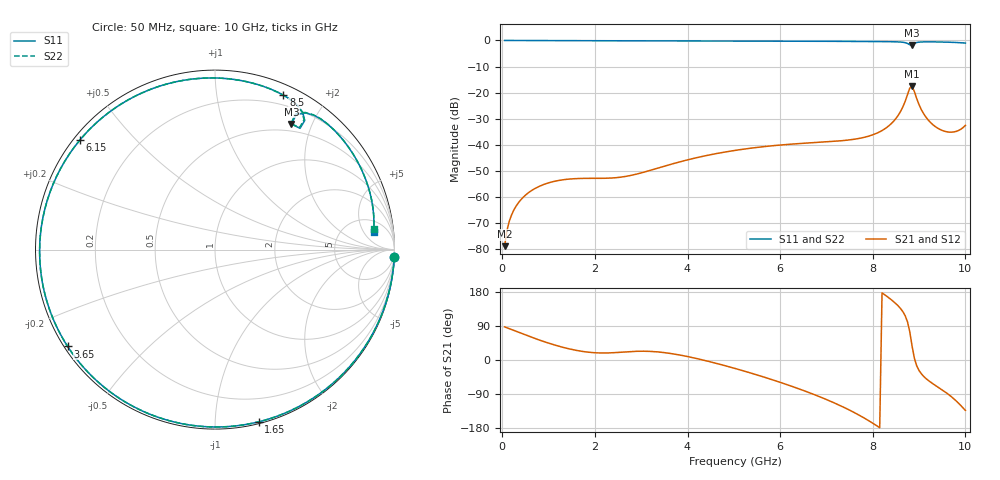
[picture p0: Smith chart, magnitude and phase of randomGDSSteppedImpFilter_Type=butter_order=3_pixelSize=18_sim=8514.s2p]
! freq	dB(S11)	phase(S11)	dB(S12)	phase(S12)
!  dB(S21)	phase(S21)	dB(S22)	phase(S22)
!S-par simulation data
#  GHz  S  DB  R 50
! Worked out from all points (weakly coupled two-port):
!   200 points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, 50 MHz to 10 GHz, reference 50 ohm
!   highest |S21| = -17.60 dB at 8.85 GHz (marker M1); lowest = -78.9 dB at 50 MHz (marker M2)
!   lowest |S11| = -1.7 dB at 8.85 GHz (marker M3), VSWR 10.04, Z = 20.1 + j85.4 ohm
!   |S11| at or under -10 dB: nowhere
!   |S22| runs from -1.7 to 0.0 dB; largest |S21 - S12| = 0
!   S11 on the Smith chart (normalised r, x): 50 MHz: 0, -47; 1.65 GHz: 0.01, -1.28; 3.65 GHz: 0.01, -0.30; 6.15 GHz: 0.02, +0.35; 8.5 GHz: 0.10, +1.53; 10 GHz: 9, +9
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0.05  -0.00 -2.5  -78.86 87.4  -78.86 87.4  -0.00 -2.5
0.1  -0.01 -4.9  -72.85 85.0  -72.85 85.0  -0.01 -4.9
0.2  -0.01 -9.8  -66.89 80.2  -66.89 80.2  -0.01 -9.8
0.5  -0.03 -24.2  -59.31 66.0  -59.31 66.0  -0.03 -24.2
1  -0.06 -47.6  -54.59 44.5  -54.59 44.5  -0.06 -47.5
1.65  -0.09 -75.8  -52.92 24.3  -52.92 24.3  -0.09 -75.8
1.75  -0.09 -79.9  -52.87 22.3  -52.87 22.3  -0.09 -79.9
2.5  -0.12 -108.6  -52.53 20.0  -52.53 20.0  -0.12 -108.5
3.4  -0.15 -138.9  -48.72 20.8  -48.72 20.8  -0.15 -138.8
3.65  -0.15 -146.7  -47.43 16.9  -47.43 16.9  -0.15 -146.6
5.05  -0.21 172.3  -42.08 -23.1  -42.08 -23.1  -0.21 172.4
6.15  -0.27 141.0  -39.87 -65.1  -39.87 -65.1  -0.27 141.1
6.7  -0.31 124.9  -39.20 -89.6  -39.20 -89.6  -0.31 125.0
7.8  -0.39 90.6  -37.21 -152.1  -37.21 -152.1  -0.39 90.9
8.35  -0.47 71.8  -32.68 163.8  -32.68 163.8  -0.47 72.0
8.5  -0.53 66.1  -29.91 148.6  -29.91 148.6  -0.53 66.4
8.75  -1.15 55.2  -20.76 100.6  -20.76 100.6  -1.14 55.5
8.85  -1.74 58.7  -17.60 35.9  -17.60 35.9  -1.72 59.0
9.1  -0.55 48.6  -28.13 -43.3  -28.13 -43.3  -0.54 49.0
9.35  -0.56 37.7  -33.02 -66.9  -33.02 -66.9  -0.56 38.1
9.7  -0.70 22.1  -35.16 -97.1  -35.16 -97.1  -0.69 22.7
10  -1.01 6.5  -32.55 -132.9  -32.55 -132.9  -0.99 7.2
